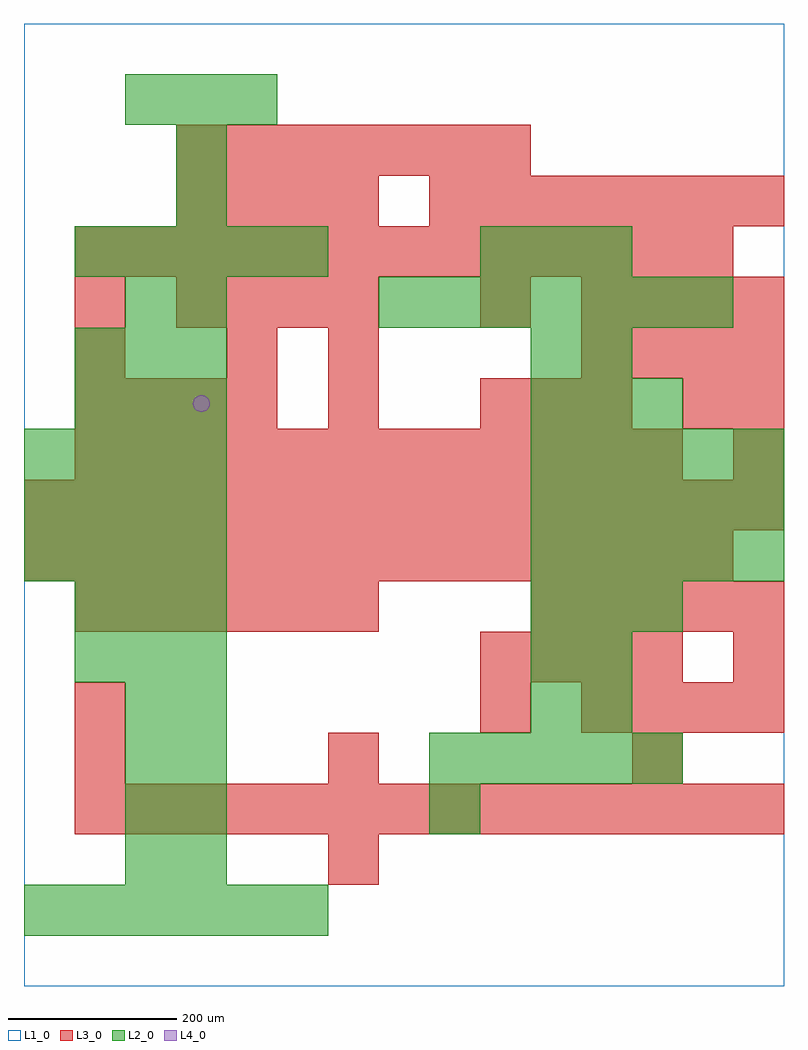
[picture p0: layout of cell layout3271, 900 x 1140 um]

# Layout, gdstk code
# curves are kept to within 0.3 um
import gdstk
lib = gdstk.Library(unit=1e-6, precision=1e-09)
def R(c, l, rs):  # rectangles x0, y0, x1, y1
    for r in rs: c.add(gdstk.rectangle(r[:2], r[2:], *l))
def A(c, l, x, y, w, h, nx, ny, dx, dy):  # array of equal rectangles
    R(c, l, [(x+i*dx, y+j*dy, x+i*dx+w, y+j*dy+h) for i in range(nx) for j in range(ny)])
def P(c, l, *ps):  # polygons
    for p in ps: c.add(gdstk.Polygon(p, *l))
L1_0 = (1, 0)
L2_0 = (2, 0)
L3_0 = (3, 0)
L4_0 = (4, 0)

layout3271 = lib.new_cell('layout3271')
R(layout3271, L1_0, [(0,0,900,1140)])
A(layout3271, L2_0, 0, 60, 60, 60, 6, 1, 60, 0)
A(layout3271, L2_0, 120, 120, 60, 60, 1, 4, 0, 60)
A(layout3271, L2_0, 180, 120, 60, 60, 1, 4, 0, 60)
A(layout3271, L2_0, 480, 240, 60, 60, 5, 1, 60, 0)
A(layout3271, L2_0, 60, 360, 60, 60, 3, 2, 60, 60)
A(layout3271, L2_0, 600, 420, 60, 60, 3, 2, 60, 240)
A(layout3271, L2_0, 0, 480, 60, 60, 4, 3, 60, 60)
A(layout3271, L2_0, 600, 480, 60, 60, 5, 3, 60, 60)
A(layout3271, L2_0, 60, 660, 60, 60, 3, 2, 60, 60)
A(layout3271, L2_0, 420, 780, 60, 60, 7, 1, 60, 0)
A(layout3271, L2_0, 60, 840, 60, 60, 5, 1, 60, 0)
A(layout3271, L2_0, 540, 840, 60, 60, 3, 1, 60, 0)
A(layout3271, L2_0, 120, 1020, 60, 60, 3, 1, 60, 0)
R(layout3271, L2_0, [(480,180,540,240), (600,300,660,360), (660,300,720,360), (600,360,660,420), (660,360,720,420), (600,720,660,780), (660,720,720,780), (120,780,180,840), (180,780,240,840), (180,900,240,960), (180,960,240,1020)])
A(layout3271, L3_0, 60, 180, 60, 60, 14, 1, 60, 0)
A(layout3271, L3_0, 660, 300, 60, 60, 4, 2, 60, 420)
A(layout3271, L3_0, 540, 360, 60, 60, 4, 1, 60, 0)
A(layout3271, L3_0, 60, 420, 60, 60, 6, 1, 60, 0)
A(layout3271, L3_0, 600, 420, 60, 60, 5, 1, 60, 0)
A(layout3271, L3_0, 0, 480, 60, 60, 14, 1, 60, 0)
A(layout3271, L3_0, 0, 540, 60, 60, 15, 1, 60, 0)
A(layout3271, L3_0, 60, 600, 60, 60, 12, 1, 60, 0)
A(layout3271, L3_0, 60, 660, 60, 60, 4, 1, 60, 0)
A(layout3271, L3_0, 540, 660, 60, 60, 3, 1, 60, 0)
A(layout3271, L3_0, 180, 780, 60, 60, 4, 2, 60, 120)
A(layout3271, L3_0, 660, 780, 60, 60, 4, 1, 60, 0)
A(layout3271, L3_0, 60, 840, 60, 60, 13, 1, 60, 0)
A(layout3271, L3_0, 480, 900, 60, 60, 7, 1, 60, 0)
A(layout3271, L3_0, 180, 960, 60, 60, 7, 1, 60, 0)
R(layout3271, L3_0, [(360,120,420,180), (60,240,120,300), (360,240,420,300), (720,240,780,300), (60,300,120,360), (540,300,600,360), (840,360,900,420), (840,600,900,660), (360,660,420,720), (780,660,840,720), (840,660,900,720), (60,720,120,780), (240,720,300,780), (360,720,420,780), (60,780,120,840), (540,780,600,840)])
P(layout3271, L4_0, [(220,690),(219.239,693.827),(217.071,697.071),(213.827,699.239),(210,700),(206.173,699.239),(202.929,697.071),(200.761,693.827),(200,690),(200.761,686.173),(202.929,682.929),(206.173,680.761),(210,680),(213.827,680.761),(217.071,682.929),(219.239,686.173)])

lib.write_gds('layout3271.gds')
